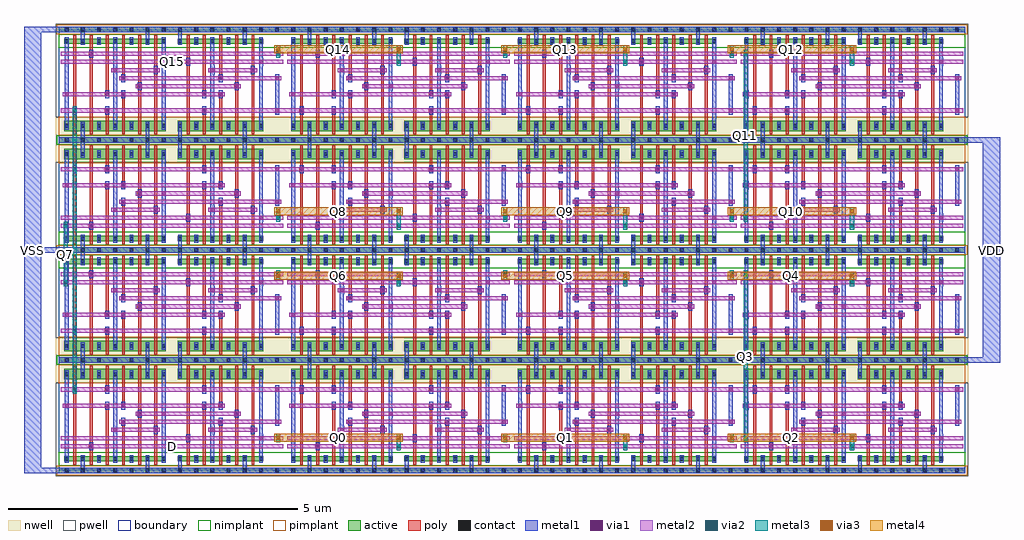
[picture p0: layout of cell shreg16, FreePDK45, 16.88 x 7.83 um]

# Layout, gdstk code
import gdstk
lib = gdstk.Library(unit=1e-6, precision=5e-10)
def R(c, l, rs):  # rectangles x0, y0, x1, y1
    for r in rs: c.add(gdstk.rectangle(r[:2], r[2:], *l))
def A(c, l, x, y, w, h, nx, ny, dx, dy):  # array of equal rectangles
    R(c, l, [(x+i*dx, y+j*dy, x+i*dx+w, y+j*dy+h) for i in range(nx) for j in range(ny)])
active = (1, 0)
pwell = (2, 0)
nwell = (3, 0)
nimplant = (4, 0)
pimplant = (5, 0)
poly = (9, 0)
contact = (10, 0)
metal1 = (11, 0)
via1 = (12, 0)
metal2 = (13, 0)
via2 = (14, 0)
metal3 = (15, 0)
via3 = (16, 0)
metal4 = (17, 0)
boundary = (235, 0)

dff = lib.new_cell('dff')
R(dff, active, [(0,-0.05,3.92,0.045), (0.1,0.15,1.855,0.24), (2.06,0.15,3.535,0.24), (0.1,1.57,1.855,1.75), (2.06,1.57,3.535,1.75), (0,1.855,3.92,1.95)])
R(dff, pwell, [(-0.055,-0.105,3.975,1.515)])
R(dff, nwell, [(-0.055,1.515,3.975,2.005)])
R(dff, nimplant, [(0,0.08,3.92,0.31), (-0.035,1.82,3.955,1.985)])
R(dff, pimplant, [(-0.035,-0.085,3.955,0.08), (0,1.5,3.92,1.82)])
A(dff, poly, 0.255, 0.095, 0.05, 0.2, 6, 1, 0.28, 0)
A(dff, poly, 2.215, 0.095, 0.05, 0.2, 5, 1, 0.28, 0)
A(dff, poly, 0.255, 1.515, 0.05, 0.29, 6, 1, 0.28, 0)
A(dff, poly, 2.215, 1.515, 0.05, 0.29, 5, 1, 0.28, 0)
R(dff, poly, [(0.255,0.295,0.305,1.515), (0.535,0.295,0.585,1.515), (0.815,0.295,0.865,1.115), (1.095,0.295,1.145,0.835), (1.375,0.295,1.425,1.515), (1.655,0.295,1.705,1.515), (2.215,0.295,2.265,1.515), (2.495,0.295,2.545,1.115), (2.775,0.295,2.825,0.835), (3.055,0.295,3.105,1.515), (3.335,0.295,3.385,1.515), (0.52,0.375,0.595,0.45), (2.2,0.515,2.275,0.59), (1.64,0.655,1.715,0.73), (3.32,0.655,3.395,0.73), (1.08,0.795,1.155,0.87), (2.76,0.795,2.835,0.87), (1.36,0.935,1.435,1.01), (3.04,0.935,3.115,1.01), (0.8,1.075,0.875,1.15), (1.08,1.075,1.155,1.15), (2.48,1.075,2.555,1.15), (2.76,1.075,2.835,1.15), (1.095,1.115,1.145,1.515), (2.775,1.115,2.825,1.515), (0.24,1.355,0.315,1.43), (0.8,1.355,0.875,1.43), (2.48,1.355,2.555,1.43), (0.815,1.395,0.865,1.515), (2.495,1.395,2.545,1.515)])
A(dff, contact, 0.105, -0.035, 0.065, 0.065, 14, 2, 0.28, 1.905)
A(dff, contact, 0.105, 0.16, 0.065, 0.065, 13, 2, 0.28, 1.465)
R(dff, contact, [(0.525,0.38,0.59,0.445), (2.205,0.52,2.27,0.585), (1.645,0.66,1.71,0.725), (3.325,0.66,3.39,0.725), (1.085,0.8,1.15,0.865), (2.765,0.8,2.83,0.865), (1.365,0.94,1.43,1.005), (3.045,0.94,3.11,1.005), (0.805,1.08,0.87,1.145), (1.085,1.08,1.15,1.145), (2.485,1.08,2.55,1.145), (2.765,1.08,2.83,1.145), (0.245,1.36,0.31,1.425), (0.805,1.36,0.87,1.425), (2.485,1.36,2.55,1.425)])
A(dff, metal1, 0.105, 0.125, 0.065, 0.135, 13, 2, 0.28, 1.465)
R(dff, metal1, [(0,-0.05,3.92,0.045), (0.385,0,0.45,0.125), (1.505,0,1.57,0.125), (2.065,0,2.13,0.125), (3.185,0,3.25,0.125), (0.105,0.26,0.17,1.115), (0.945,0.26,1.01,0.695), (1.785,0.26,1.85,0.975), (2.625,0.26,2.69,0.695), (3.465,0.26,3.53,0.555), (0.525,0.345,0.595,0.485), (2.205,0.485,2.275,0.625), (3.465,0.485,3.535,0.625), (3.465,0.485,3.535,0.625), (3.465,0.555,3.53,1.59), (0.945,0.625,1.015,0.765), (0.945,0.625,1.015,0.765), (1.645,0.625,1.715,0.765), (2.625,0.625,2.695,0.765), (2.625,0.625,2.695,0.765), (3.325,0.625,3.395,0.765), (0.945,0.695,1.01,1.59), (2.625,0.695,2.69,1.59), (1.085,0.765,1.155,0.905), (2.765,0.765,2.835,0.905), (3.745,0.765,3.815,0.905), (3.745,0.835,3.815,1.395), (1.365,0.905,1.435,1.045), (1.785,0.905,1.855,1.045), (1.785,0.905,1.855,1.045), (3.045,0.905,3.115,1.045), (1.785,0.975,1.85,1.59), (0.105,1.045,0.175,1.185), (0.105,1.045,0.175,1.185), (0.805,1.045,0.875,1.185), (1.085,1.045,1.155,1.185), (2.485,1.045,2.555,1.185), (2.765,1.045,2.835,1.185), (0.105,1.115,0.17,1.59), (0.245,1.325,0.315,1.465), (0.805,1.325,0.875,1.465), (2.485,1.325,2.555,1.465), (3.745,1.325,3.815,1.465), (0.385,1.725,0.45,1.905), (1.505,1.725,1.57,1.905), (2.065,1.725,2.13,1.905), (3.185,1.725,3.25,1.905), (0,1.855,3.92,1.95)])
R(dff, via1, [(0.525,0.38,0.595,0.45), (2.205,0.52,2.275,0.59), (3.465,0.52,3.535,0.59), (3.465,0.52,3.535,0.59), (0.945,0.66,1.015,0.73), (0.945,0.66,1.015,0.73), (1.645,0.66,1.715,0.73), (2.625,0.66,2.695,0.73), (2.625,0.66,2.695,0.73), (3.325,0.66,3.395,0.73), (1.085,0.8,1.155,0.87), (2.765,0.8,2.835,0.87), (3.745,0.8,3.815,0.87), (1.365,0.94,1.435,1.01), (1.785,0.94,1.855,1.01), (1.785,0.94,1.855,1.01), (3.045,0.94,3.115,1.01), (0.105,1.08,0.175,1.15), (0.105,1.08,0.175,1.15), (0.805,1.08,0.875,1.15), (1.085,1.08,1.155,1.15), (2.485,1.08,2.555,1.15), (2.765,1.08,2.835,1.15), (0.245,1.36,0.315,1.43), (0.805,1.36,0.875,1.43), (2.485,1.36,2.555,1.43), (3.745,1.36,3.815,1.43)])
R(dff, metal2, [(0.035,0.38,3.885,0.45), (0.49,0.38,0.63,0.45), (0.035,0.52,3.885,0.59), (2.17,0.52,2.31,0.59), (3.43,0.52,3.57,0.59), (3.43,0.52,3.57,0.59), (0.91,0.66,1.05,0.73), (0.91,0.66,1.05,0.73), (0.98,0.66,1.68,0.73), (1.61,0.66,1.75,0.73), (2.59,0.66,2.73,0.73), (2.59,0.66,2.73,0.73), (2.66,0.66,3.36,0.73), (3.29,0.66,3.43,0.73), (1.05,0.8,1.19,0.87), (1.12,0.8,3.78,0.87), (2.73,0.8,2.87,0.87), (3.71,0.8,3.85,0.87), (1.33,0.94,1.47,1.01), (1.4,0.94,3.08,1.01), (1.75,0.94,1.89,1.01), (1.75,0.94,1.89,1.01), (3.01,0.94,3.15,1.01), (0.07,1.08,0.21,1.15), (0.07,1.08,0.21,1.15), (0.14,1.08,2.8,1.15), (0.77,1.08,0.91,1.15), (1.05,1.08,1.19,1.15), (2.45,1.08,2.59,1.15), (2.73,1.08,2.87,1.15), (0.035,1.36,3.885,1.43), (0.21,1.36,0.35,1.43), (0.77,1.36,0.91,1.43), (2.45,1.36,2.59,1.43), (3.71,1.36,3.85,1.43)])
R(dff, boundary, [(0,0,3.92,1.905)])
dff.add(gdstk.Label('VSS', (1.96,-0.003), layer=11, texttype=1))
dff.add(gdstk.Label('VDD', (1.96,1.902), layer=11, texttype=1))
dff.add(gdstk.Label('Q', (1.96,0.555), layer=13, texttype=1))
dff.add(gdstk.Label('CK', (1.96,1.395), layer=13, texttype=1))
dff.add(gdstk.Label('D', (1.96,0.415), layer=13, texttype=1))

shreg16 = lib.new_cell('shreg16')
A(shreg16, metal1, -0.6, -0.05, 0.6, 0.095, 1, 3, 0, 3.81)
R(shreg16, metal1, [(-0.6,-0.05,-0.3,7.665), (15.68,1.855,16.28,1.95), (15.98,1.855,16.28,5.76), (15.68,5.665,16.28,5.76)])
A(shreg16, metal2, 5.81, 0.38, 0.14, 0.07, 3, 2, 3.92, 2.835)
A(shreg16, metal2, 3.73, 0.52, 0.14, 0.07, 3, 2, 3.92, 2.835)
A(shreg16, metal2, 3.885, 1.36, 0.07, 0.07, 3, 2, 3.92, 1.015)
A(shreg16, metal2, 5.81, 4.19, 0.14, 0.07, 3, 2, 3.92, 2.835)
A(shreg16, metal2, 3.73, 4.33, 0.14, 0.07, 3, 2, 3.92, 2.835)
A(shreg16, metal2, 3.885, 5.17, 0.07, 0.07, 3, 2, 3.92, 1.015)
R(shreg16, metal2, [(11.81,0.52,11.95,0.59), (0.21,1.36,0.35,1.43), (0.21,2.375,0.35,2.445), (0.05,3.215,0.19,3.285), (11.81,3.355,11.95,3.425), (0.05,4.19,0.19,4.26), (11.81,4.33,11.95,4.4), (0.21,5.17,0.35,5.24), (0.21,6.185,0.35,6.255), (11.81,7.165,11.95,7.235)])
A(shreg16, via2, 5.845, 0.38, 0.07, 0.07, 3, 2, 3.92, 2.835)
A(shreg16, via2, 3.765, 0.52, 0.07, 0.07, 3, 2, 3.92, 2.835)
A(shreg16, via2, 5.845, 4.19, 0.07, 0.07, 3, 2, 3.92, 2.835)
A(shreg16, via2, 3.765, 4.33, 0.07, 0.07, 3, 2, 3.92, 2.835)
R(shreg16, via2, [(11.845,0.52,11.915,0.59), (0.245,1.36,0.315,1.43), (0.245,2.375,0.315,2.445), (0.085,3.215,0.155,3.285), (11.845,3.355,11.915,3.425), (0.085,4.19,0.155,4.26), (11.845,4.33,11.915,4.4), (0.245,5.17,0.315,5.24), (0.245,6.185,0.315,6.255), (11.845,7.165,11.915,7.235)])
A(shreg16, metal3, 5.845, 0.345, 0.07, 0.14, 3, 2, 3.92, 2.835)
A(shreg16, metal3, 5.845, 0.415, 0.07, 0.145, 3, 1, 3.92, 0)
A(shreg16, metal3, 3.765, 0.485, 0.07, 0.14, 3, 2, 3.92, 2.835)
A(shreg16, metal3, 3.765, 0.555, 0.07, 0.005, 3, 1, 3.92, 0)
A(shreg16, metal3, 5.845, 3.25, 0.07, 0.11, 3, 1, 3.92, 0)
A(shreg16, metal3, 3.765, 3.36, 0.07, 0.03, 3, 1, 3.92, 0)
A(shreg16, metal3, 5.845, 4.155, 0.07, 0.14, 3, 2, 3.92, 2.835)
A(shreg16, metal3, 5.845, 4.225, 0.07, 0.255, 3, 1, 3.92, 0)
A(shreg16, metal3, 3.765, 4.295, 0.07, 0.14, 3, 2, 3.92, 2.835)
A(shreg16, metal3, 3.765, 4.365, 0.07, 0.115, 3, 1, 3.92, 0)
A(shreg16, metal3, 5.845, 7.06, 0.07, 0.22, 3, 1, 3.92, 0)
A(shreg16, metal3, 3.765, 7.2, 0.07, 0.08, 3, 1, 3.92, 0)
R(shreg16, metal3, [(11.845,0.485,11.915,0.625), (3.765,0.49,3.835,0.63), (5.845,0.49,5.915,0.63), (7.685,0.49,7.755,0.63), (9.765,0.49,9.835,0.63), (11.605,0.49,11.675,0.63), (13.685,0.49,13.755,0.63), (11.845,0.555,11.915,3.39), (0.245,1.325,0.315,1.465), (0.245,1.395,0.315,6.22), (0.245,2.34,0.315,2.48), (0.085,3.18,0.155,3.32), (0.085,3.25,0.155,4.225), (3.765,3.29,3.835,3.43), (5.845,3.29,5.915,3.43), (7.685,3.29,7.755,3.43), (9.765,3.29,9.835,3.43), (11.605,3.29,11.675,3.43), (13.685,3.29,13.755,3.43), (11.845,3.32,11.915,3.46), (0.085,4.155,0.155,4.295), (11.845,4.295,11.915,4.435), (11.845,4.365,11.915,7.2), (3.765,4.41,3.835,4.55), (5.845,4.41,5.915,4.55), (7.685,4.41,7.755,4.55), (9.765,4.41,9.835,4.55), (11.605,4.41,11.675,4.55), (13.685,4.41,13.755,4.55), (0.245,5.135,0.315,5.275), (0.245,6.15,0.315,6.29), (11.845,7.13,11.915,7.27), (3.765,7.21,3.835,7.35), (5.845,7.21,5.915,7.35), (7.685,7.21,7.755,7.35), (9.765,7.21,9.835,7.35), (11.605,7.21,11.675,7.35), (13.685,7.21,13.755,7.35)])
R(shreg16, via3, [(3.765,0.525,3.835,0.595), (5.845,0.525,5.915,0.595), (7.685,0.525,7.755,0.595), (9.765,0.525,9.835,0.595), (11.605,0.525,11.675,0.595), (13.685,0.525,13.755,0.595), (3.765,3.325,3.835,3.395), (5.845,3.325,5.915,3.395), (7.685,3.325,7.755,3.395), (9.765,3.325,9.835,3.395), (11.605,3.325,11.675,3.395), (13.685,3.325,13.755,3.395), (3.765,4.445,3.835,4.515), (5.845,4.445,5.915,4.515), (7.685,4.445,7.755,4.515), (9.765,4.445,9.835,4.515), (11.605,4.445,11.675,4.515), (13.685,4.445,13.755,4.515), (3.765,7.245,3.835,7.315), (5.845,7.245,5.915,7.315), (7.685,7.245,7.755,7.315), (9.765,7.245,9.835,7.315), (11.605,7.245,11.675,7.315), (13.685,7.245,13.755,7.315)])
A(shreg16, metal4, 3.8, 0.49, 2.08, 0.14, 3, 2, 3.92, 2.8)
A(shreg16, metal4, 3.8, 4.41, 2.08, 0.14, 3, 2, 3.92, 2.8)
R(shreg16, metal4, [(3.73,0.49,3.87,0.63), (5.81,0.49,5.95,0.63), (7.65,0.49,7.79,0.63), (9.73,0.49,9.87,0.63), (11.57,0.49,11.71,0.63), (13.65,0.49,13.79,0.63), (3.73,3.29,3.87,3.43), (5.81,3.29,5.95,3.43), (7.65,3.29,7.79,3.43), (9.73,3.29,9.87,3.43), (11.57,3.29,11.71,3.43), (13.65,3.29,13.79,3.43), (3.73,4.41,3.87,4.55), (5.81,4.41,5.95,4.55), (7.65,4.41,7.79,4.55), (9.73,4.41,9.87,4.55), (11.57,4.41,11.71,4.55), (13.65,4.41,13.79,4.55), (3.73,7.21,3.87,7.35), (5.81,7.21,5.95,7.35), (7.65,7.21,7.79,7.35), (9.73,7.21,9.87,7.35), (11.57,7.21,11.71,7.35), (13.65,7.21,13.79,7.35)])
shreg16.add(gdstk.Reference(dff, (0,0)))
shreg16.add(gdstk.Reference(dff, (3.92,0)))
shreg16.add(gdstk.Reference(dff, (7.84,0)))
shreg16.add(gdstk.Reference(dff, (11.76,0)))
shreg16.add(gdstk.Reference(dff, (0,3.805), x_reflection=True))
shreg16.add(gdstk.Reference(dff, (3.92,3.805), x_reflection=True))
shreg16.add(gdstk.Reference(dff, (7.84,3.805), x_reflection=True))
shreg16.add(gdstk.Reference(dff, (11.76,3.805), x_reflection=True))
shreg16.add(gdstk.Reference(dff, (0,3.81)))
shreg16.add(gdstk.Reference(dff, (3.92,3.81)))
shreg16.add(gdstk.Reference(dff, (7.84,3.81)))
shreg16.add(gdstk.Reference(dff, (11.76,3.81)))
shreg16.add(gdstk.Reference(dff, (0,7.615), x_reflection=True))
shreg16.add(gdstk.Reference(dff, (3.92,7.615), x_reflection=True))
shreg16.add(gdstk.Reference(dff, (7.84,7.615), x_reflection=True))
shreg16.add(gdstk.Reference(dff, (11.76,7.615), x_reflection=True))
shreg16.add(gdstk.Label('VSS', (-0.45,3.807), layer=11, texttype=1))
shreg16.add(gdstk.Label('VDD', (16.13,3.807), layer=11, texttype=1))
shreg16.add(gdstk.Label('D', (1.96,0.415), layer=13, texttype=1))
shreg16.add(gdstk.Label('Q15', (1.96,7.06), layer=13, texttype=1))
shreg16.add(gdstk.Label('Q11', (11.88,5.782), layer=15, texttype=1))
shreg16.add(gdstk.Label('Q3', (11.88,1.972), layer=15, texttype=1))
shreg16.add(gdstk.Label('Q7', (0.12,3.737), layer=15, texttype=1))
shreg16.add(gdstk.Label('CK', (0.28,3.807), layer=15, texttype=1))
shreg16.add(gdstk.Label('Q0', (4.84,0.56), layer=17, texttype=1))
shreg16.add(gdstk.Label('Q1', (8.76,0.56), layer=17, texttype=1))
shreg16.add(gdstk.Label('Q10', (12.68,4.48), layer=17, texttype=1))
shreg16.add(gdstk.Label('Q12', (12.68,7.28), layer=17, texttype=1))
shreg16.add(gdstk.Label('Q13', (8.76,7.28), layer=17, texttype=1))
shreg16.add(gdstk.Label('Q14', (4.84,7.28), layer=17, texttype=1))
shreg16.add(gdstk.Label('Q2', (12.68,0.56), layer=17, texttype=1))
shreg16.add(gdstk.Label('Q4', (12.68,3.36), layer=17, texttype=1))
shreg16.add(gdstk.Label('Q5', (8.76,3.36), layer=17, texttype=1))
shreg16.add(gdstk.Label('Q6', (4.84,3.36), layer=17, texttype=1))
shreg16.add(gdstk.Label('Q8', (4.84,4.48), layer=17, texttype=1))
shreg16.add(gdstk.Label('Q9', (8.76,4.48), layer=17, texttype=1))

lib.write_gds('shreg16.gds')
